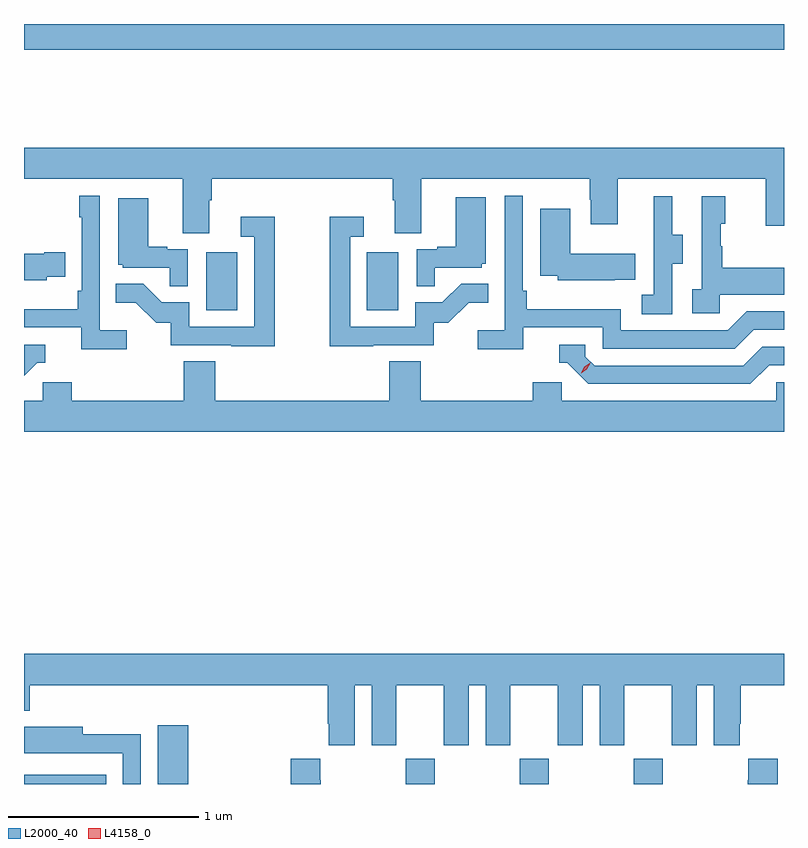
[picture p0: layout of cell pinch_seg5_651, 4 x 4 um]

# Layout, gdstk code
import gdstk
lib = gdstk.Library(unit=1e-6, precision=1e-09)
def R(c, l, rs):  # rectangles x0, y0, x1, y1
    for r in rs: c.add(gdstk.rectangle(r[:2], r[2:], *l))
def A(c, l, x, y, w, h, nx, ny, dx, dy):  # array of equal rectangles
    R(c, l, [(x+i*dx, y+j*dy, x+i*dx+w, y+j*dy+h) for i in range(nx) for j in range(ny)])
def P(c, l, *ps):  # polygons
    for p in ps: c.add(gdstk.Polygon(p, *l))
L2000_40 = (2000, 40)
L4158_0 = (4158, 0)

pinch_seg5_651 = lib.new_cell('pinch_seg5_651')
A(pinch_seg5_651, L2000_40, 1068.397, 840.255, 0.155, 0.133, 3, 1, 0.6, 0)
R(pinch_seg5_651, L2000_40, [(1066.389,840.255,1066.822,840.303), (1067.093,840.255,1067.254,840.565), (1067.348,842.748,1067.512,843.055), (1068.194,842.748,1068.358,843.055), (1066.389,844.12,1070.389,844.255)])
P(pinch_seg5_651, L2000_40, [(1067.365,843.328),(1067.378,843.328),(1067.378,843.44),(1068.329,843.44),(1068.329,843.328),(1068.341,843.328),(1068.341,843.154),(1068.481,843.154),(1068.481,843.44),(1069.366,843.44),(1069.366,843.329),(1069.373,843.329),(1069.373,843.201),(1069.513,843.201),(1069.513,843.44),(1070.294,843.44),(1070.294,843.192),(1070.389,843.192),(1070.389,843.604),(1066.389,843.604),(1066.389,843.44),(1067.225,843.44),(1067.225,843.154),(1067.365,843.154)],
  [(1066.93,842.644),(1066.788,842.644),(1066.788,843.352),(1066.68,843.352),(1066.68,843.239),(1066.692,843.239),(1066.692,842.851),(1066.672,842.851),(1066.672,842.755),(1066.389,842.755),(1066.389,842.658),(1066.691,842.658),(1066.691,842.542),(1066.93,842.542)],
  [(1069.016,842.658),(1069.434,842.658),(1069.434,842.547),(1070.131,842.547),(1070.23,842.646),(1070.389,842.646),(1070.389,842.742),(1070.193,842.742),(1070.094,842.643),(1069.53,842.643),(1069.53,842.755),(1069.034,842.755),(1069.034,842.851),(1069.014,842.851),(1069.014,843.352),(1068.918,843.352),(1068.918,842.644),(1068.777,842.644),(1068.777,842.542),(1069.016,842.542)],
  [(1070.052,842.831),(1070.389,842.831),(1070.389,842.971),(1070.065,842.971),(1070.065,843.086),(1070.055,843.086),(1070.055,843.204),(1070.08,843.204),(1070.08,843.349),(1069.956,843.349),(1069.956,842.858),(1069.905,842.858),(1069.905,842.733),(1070.052,842.733)],
  [(1069.8,842.992),(1069.855,842.992),(1069.855,843.147),(1069.801,843.147),(1069.801,843.349),(1069.703,843.349),(1069.703,843.135),(1069.704,843.135),(1069.704,842.831),(1069.641,842.831),(1069.641,842.728),(1069.8,842.728)],
  [(1068.551,842.973),(1068.798,842.973),(1068.798,842.994),(1068.82,842.994),(1068.82,843.343),(1068.662,843.343),(1068.662,843.082),(1068.563,843.082),(1068.563,843.069),(1068.456,843.069),(1068.456,842.875),(1068.551,842.875)],
  [(1067.25,843.069),(1067.144,843.069),(1067.144,843.082),(1067.044,843.082),(1067.044,843.337),(1066.886,843.337),(1066.886,842.988),(1066.908,842.988),(1066.908,842.973),(1067.155,842.973),(1067.155,842.875),(1067.25,842.875)],
  [(1069.499,842.909),(1069.607,842.909),(1069.607,843.046),(1069.264,843.046),(1069.264,843.283),(1069.106,843.283),(1069.106,842.93),(1069.197,842.93),(1069.197,842.906),(1069.499,842.906)],
  [(1068.227,842.565),(1068.546,842.565),(1068.546,842.682),(1068.622,842.682),(1068.729,842.789),(1068.833,842.789),(1068.833,842.888),(1068.689,842.888),(1068.591,842.79),(1068.447,842.79),(1068.447,842.661),(1068.105,842.661),(1068.105,843.135),(1068.178,843.135),(1068.178,843.241),(1067.997,843.241),(1067.997,842.56),(1068.227,842.56)],
  [(1067.71,843.241),(1067.529,843.241),(1067.529,843.135),(1067.601,843.135),(1067.601,842.661),(1067.259,842.661),(1067.259,842.79),(1067.115,842.79),(1067.017,842.888),(1066.873,842.888),(1066.873,842.789),(1066.977,842.789),(1067.084,842.682),(1067.161,842.682),(1067.161,842.565),(1067.479,842.565),(1067.479,842.56),(1067.71,842.56)],
  [(1066.509,842.924),(1066.607,842.924),(1066.607,843.054),(1066.496,843.054),(1066.496,843.046),(1066.389,843.046),(1066.389,842.906),(1066.509,842.906)],
  [(1066.458,842.472),(1066.501,842.472),(1066.501,842.568),(1066.389,842.568),(1066.389,842.403)],
  [(1070.311,842.46),(1070.389,842.46),(1070.389,842.556),(1070.274,842.556),(1070.175,842.457),(1069.392,842.457),(1069.344,842.505),(1069.344,842.568),(1069.205,842.568),(1069.205,842.472),(1069.248,842.472),(1069.359,842.361),(1070.212,842.361)],
  [(1070.389,842.37),(1070.349,842.37),(1070.349,842.272),(1069.218,842.272),(1069.218,842.37),(1069.067,842.37),(1069.067,842.272),(1068.476,842.272),(1068.476,842.48),(1068.311,842.48),(1068.311,842.272),(1067.396,842.272),(1067.396,842.48),(1067.231,842.48),(1067.231,842.272),(1066.64,842.272),(1066.64,842.37),(1066.488,842.37),(1066.488,842.272),(1066.389,842.272),(1066.389,842.108),(1070.389,842.108)],
  [(1068.13,840.776),(1068.218,840.776),(1068.218,840.459),(1068.349,840.459),(1068.349,840.776),(1068.599,840.776),(1068.599,840.459),(1068.73,840.459),(1068.73,840.776),(1068.818,840.776),(1068.818,840.459),(1068.949,840.459),(1068.949,840.776),(1069.199,840.776),(1069.199,840.459),(1069.33,840.459),(1069.33,840.776),(1069.418,840.776),(1069.418,840.459),(1069.549,840.459),(1069.549,840.776),(1069.799,840.776),(1069.799,840.459),(1069.93,840.459),(1069.93,840.776),(1070.018,840.776),(1070.018,840.459),(1070.155,840.459),(1070.155,840.571),(1070.162,840.571),(1070.162,840.776),(1070.389,840.776),(1070.389,840.94),(1066.389,840.94),(1066.389,840.641),(1066.418,840.641),(1066.418,840.776),(1067.987,840.776),(1067.987,840.571),(1067.993,840.571),(1067.993,840.459),(1068.13,840.459)],
  [(1067.004,840.518),(1066.699,840.518),(1066.699,840.556),(1066.389,840.556),(1066.389,840.416),(1066.595,840.416),(1066.595,840.417),(1066.908,840.417),(1066.908,840.255),(1067.004,840.255)],
  [(1070.357,840.388),(1070.201,840.388),(1070.201,840.275),(1070.197,840.275),(1070.197,840.255),(1070.357,840.255)],
  [(1067.952,840.275),(1067.947,840.275),(1067.947,840.388),(1067.792,840.388),(1067.792,840.255),(1067.952,840.255)])
P(pinch_seg5_651, L4158_0, [(1069.322,842.418),(1069.322,842.419),(1069.337,842.451),(1069.368,842.471),(1069.368,842.471),(1069.368,842.47),(1069.352,842.438),(1069.322,842.418)])

lib.write_gds('pinch_seg5_651.gds')
